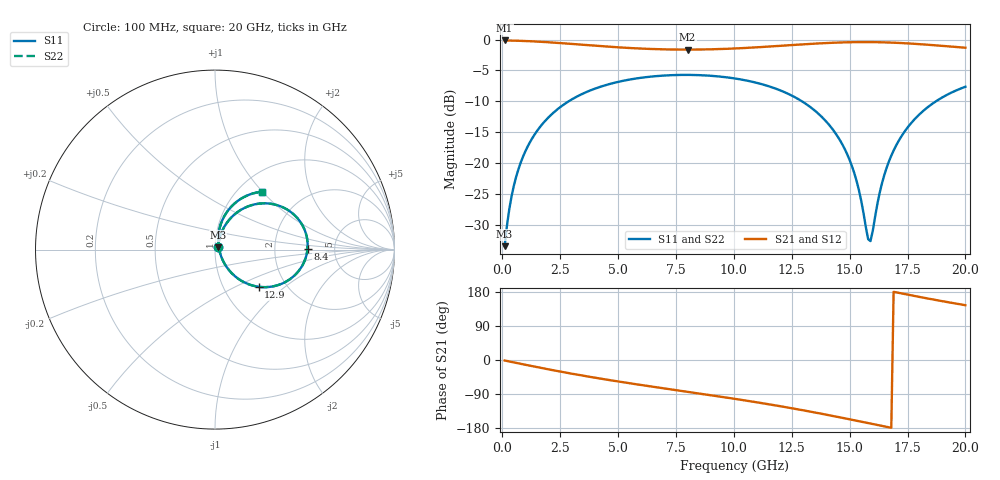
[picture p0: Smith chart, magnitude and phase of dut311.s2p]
! Touchstone file exported from HFSS 2026.1.0
!  File:  C:/ffzhzh/LocalFiles/Ansys_Project_Files/temp_train_TSV_RDL_311_1783029596_4048.aedt
!  Generated:  06:14:03 AM Jul  3, 2026
!  Design:  TSV_RDL
!  Project:  temp_train_TSV_RDL_311_1783029596_4048
! Variables:
!  h_bsmrdl = 5.33um
!  h_ox = 20um
!  h_rdl = 5um
!  h_sub = 90.87um
!  h_tmrdl = 5.61um
!  h_tsv = 90.87um
!  h_via = 3um
!  l_bsmrdl = 172.74um
!  l_sub = 3263.44um
!  l_tmrdl = 556.35um
!  m_sub = 200um
!  pitch = 43.66um
!  r_tsv = 7.89um
!  s_tmrdl = 10um
!  w_bsmrdl = 29.74um
!  w_sub = 500um
!  w_tmrdl = 10.2um
!  x_tsv_center1 = 561.45um
!  x_tsv_center2 = 763.93um
!  x_tsv_center3 = 1330.48um
!  x_tsv_center4 = 1532.96um
!  x_tsv_center5 = 2099.51um
!  x_tsv_center6 = 2301.99um
# GHz S MA R 50.000000
! Terminal data exported
! Port[1] = TM_RDL1_1_T1
! Port[2] = TM_RDL5_1_T1
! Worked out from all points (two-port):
!   200 points, 100 MHz to 20 GHz, reference 50 ohm
!   highest |S21| = -0.15 dB at 100 MHz (marker M1); lowest = -1.6 dB at 8 GHz (marker M2)
!   |S21| within 3 dB of the highest: start of sweep to end of sweep
!   lowest |S11| = -33.5 dB at 100 MHz (marker M3), VSWR 1.04, Z = 51.7 + j1.31 ohm
!   |S11| at or under -10 dB: start of sweep to 2.872 GHz; 12.94 GHz to 18.73 GHz (5.798 GHz wide, 36.6 % of centre)
!   |S22| runs from -33.5 to -5.7 dB; largest |S21 - S12| = 3.7e-14
!   S11 on the Smith chart (normalised r, x): 100 MHz: 1.03, +0.03; 8.4 GHz: 3.13, +0.05; 12.9 GHz: 1.46, -0.67; 20 GHz: 1.27, +0.99
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0.1  0.02114 36.8  0.9833 -1.3  0.9833 -1.3  0.02114 36.8
! Gamma 0 0 0 0
! Port Impedance 50 0 50 0
0.3  0.04195 61.7  0.9818 -3.9  0.9818 -3.9  0.04195 61.7
0.5  0.06544 67.8  0.9799 -6.4  0.9799 -6.4  0.06544 67.8
1.1  0.1363 67.9  0.9713 -13.9  0.9713 -13.9  0.1363 67.9
2.1  0.2446 59.0  0.9478 -25.9  0.9478 -25.9  0.2446 59.0
3.5  0.3659 44.7  0.906 -41.5  0.906 -41.5  0.3659 44.7
6.8  0.5081 14.3  0.8345 -73.3  0.8345 -73.3  0.5081 14.3
8  0.5171 4.1  0.8289 -84.0  0.8289 -84.0  0.5171 4.1
8.4  0.5155 0.7  0.8297 -87.5  0.8297 -87.5  0.5155 0.6
10.1  0.4819 -14.1  0.8475 -103.0  0.8475 -103.0  0.4819 -14.1
12.9  0.3193 -40.4  0.9123 -131.7  0.9123 -131.7  0.3193 -40.4
13.4  0.2747 -45.3  0.9244 -137.3  0.9244 -137.3  0.2747 -45.3
14.3  0.1837 -53.2  0.9425 -147.9  0.9425 -147.9  0.1837 -53.2
14.9  0.117 -56.2  0.9505 -155.3  0.9505 -155.3  0.117 -56.2
15.3  0.07152 -53.7  0.9533 -160.2  0.9533 -160.2  0.07152 -53.7
15.8  0.02409 -7.0  0.9539 -166.5  0.9539 -166.5  0.02412 -7.0
15.9  0.02325 21.3  0.9536 -167.7  0.9536 -167.7  0.02328 21.3
16.3  0.05743 72.1  0.951 -172.7  0.951 -172.7  0.05745 72.1
16.7  0.103 77.9  0.9463 -177.7  0.9463 -177.7  0.103 77.9
17.3  0.1712 75.9  0.9355 175.0  0.9355 175.0  0.1713 75.9
18  0.2461 70.1  0.9185 166.6  0.9185 166.6  0.2461 70.1
20  0.4144 51.0  0.8585 144.6  0.8585 144.6  0.4144 51.0
